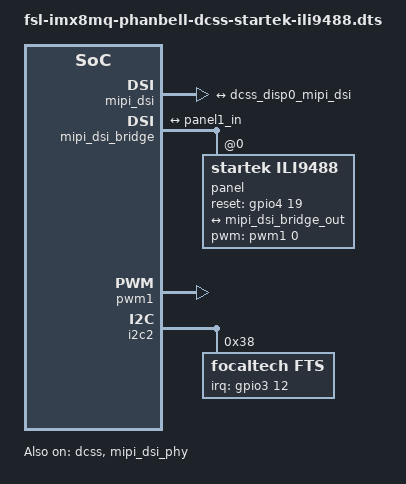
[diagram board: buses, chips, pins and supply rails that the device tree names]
/*
 * Copyright 2018 NXP
 *
 * This program is free software; you can redistribute it and/or
 * modify it under the terms of the GNU General Public License
 * as published by the Free Software Foundation; either version 2
 * of the License, or (at your option) any later version.
 *
 * This program is distributed in the hope that it will be useful,
 * but WITHOUT ANY WARRANTY; without even the implied warranty of
 * MERCHANTABILITY or FITNESS FOR A PARTICULAR PURPOSE.  See the
 * GNU General Public License for more details.
 */

#include "fsl-imx8mq-phanbell.dts"

&hdmi {
	status = "disabled";
};

&hdmi_cec {
	status = "disabled";
};

&dcss {
	status = "okay";
	disp-dev = "mipi_disp";

	clocks = <&clk IMX8MQ_CLK_DISP_APB_ROOT>,
		 <&clk IMX8MQ_CLK_DISP_AXI_ROOT>,
		 <&clk IMX8MQ_CLK_DISP_RTRM_ROOT>,
		 <&clk IMX8MQ_CLK_DC_PIXEL_DIV>,
		 <&clk IMX8MQ_CLK_DUMMY>,
		 <&clk IMX8MQ_CLK_DISP_DTRC_DIV>;
	clock-names = "apb", "axi", "rtrm", "pix_div", "pix_out", "dtrc";

	assigned-clocks = <&clk IMX8MQ_CLK_DC_PIXEL_SRC>,
			  <&clk IMX8MQ_CLK_DISP_AXI_SRC>,
			  <&clk IMX8MQ_CLK_DISP_RTRM_SRC>,
			  <&clk IMX8MQ_CLK_DISP_RTRM_PRE_DIV>,
			  <&clk IMX8MQ_VIDEO_PLL1_REF_SEL>,
			  <&clk IMX8MQ_VIDEO_PLL1>;
	assigned-clock-parents = <&clk IMX8MQ_VIDEO_PLL1_OUT>,
				 <&clk IMX8MQ_SYS1_PLL_800M>,
				 <&clk IMX8MQ_SYS1_PLL_800M>,
				 <&clk IMX8MQ_VIDEO_PLL1_OUT>,
				 <&clk IMX8MQ_CLK_25M>;
	assigned-clock-rates = <600000000>,
			       <800000000>,
			       <400000000>,
			       <400000000>,
			       <0>,
			       <599999999>;

	dcss_disp0: port@0 {
		reg = <0>;

		dcss_disp0_mipi_dsi: mipi_dsi {
			remote-endpoint = <&mipi_dsi_in>;
		};
	};
};

&mipi_dsi_phy {
	status = "okay";
};

&mipi_dsi {
	status = "okay";
	assigned-clocks = <&clk IMX8MQ_CLK_DSI_PHY_REF_SRC>,
			  <&clk IMX8MQ_CLK_DSI_CORE_SRC>,
			  <&clk IMX8MQ_VIDEO_PLL1_REF_SEL>,
			  <&clk IMX8MQ_VIDEO_PLL1>;
	assigned-clock-parents = <&clk IMX8MQ_VIDEO_PLL1_OUT>,
				 <&clk IMX8MQ_SYS1_PLL_266M>,
				 <&clk IMX8MQ_CLK_25M>;
	assigned-clock-rates = <24000000>,
			       <266000000>,
			       <0>,
			       <599999999>;

	port@1 {
		mipi_dsi_in: endpoint {
			remote-endpoint = <&dcss_disp0_mipi_dsi>;
		};
	};

};

&mipi_dsi_bridge {
	status = "okay";

	panel@0 {
		compatible = "startek,ili9488";
		reg = <0>;
		pinctrl-0 = <&pinctrl_mipi_dsi_en>;
		reset-gpio = <&gpio4 19 GPIO_ACTIVE_HIGH>;
		dsi-lanes = <1>;
		panel-width-mm = <49>;
		panel-height-mm = <74>;
		pwms = <&pwm1 0 1000000 0>;
		port {
			panel1_in: endpoint {
				remote-endpoint = <&mipi_dsi_bridge_out>;
			};
		};
	};

	port@1 {
		mipi_dsi_bridge_out: endpoint {
			remote-endpoint = <&panel1_in>;
		};
	};
};

&pwm1 {
	pinctrl-names = "default";
	pinctrl-0 = <&pinctrl_bl_pwm0>;
	status = "okay";
};

&i2c2 {
	status = "okay";

	focaltech@38 {
		compatible = "focaltech,fts";
		reg = <0x38>;
		pinctrl-0 = <&pinctrl_ts_int>;
		interrupt-parent = <&gpio3>;
		interrupts = <12 0x02>;
		focaltech,panel-type = <FT6236>;
		focaltech,irq-gpio = <&gpio3 12 0x02>;
		// focaltech,reset-gpio // share with dsi
		focaltech,max-touch-number = <5>;
		focaltech,display-coords =  <0 0 320 480>;
	};
};

&iomuxc {
	imx8mq-evk {
		pinctrl_mipi_dsi_en: mipi_dsi_en {
			fsl,pins = <
				MX8MQ_IOMUXC_ECSPI2_SS0_GPIO5_IO13 0x16
				MX8MQ_IOMUXC_SAI1_TXD6_GPIO4_IO18  0X16 // DSI_TE
				MX8MQ_IOMUXC_SAI1_TXD7_GPIO4_IO19  0x16 // reset
			>;
		};

		pinctrl_bl_pwm0: bl_pwm0 {
			fsl,pins = <
				MX8MQ_IOMUXC_GPIO1_IO01_PWM1_OUT   0x16 // backlight
			>;
		};

		pinctrl_ts_int: ts_int {
			fsl,pins = <
				MX8MQ_IOMUXC_NAND_DATA06_GPIO3_IO12   0x16 // touch screen interrupt
			>;
		};
	};
};
